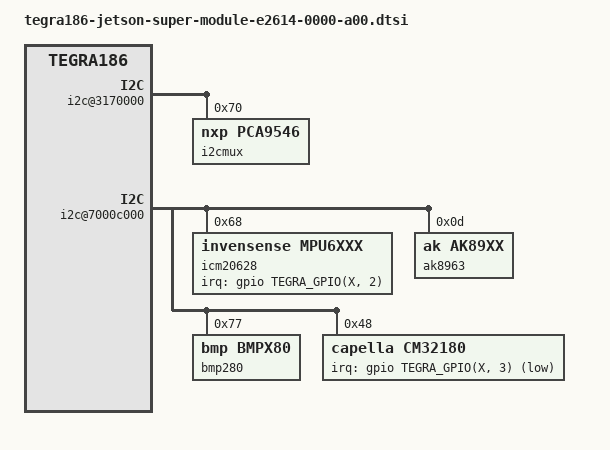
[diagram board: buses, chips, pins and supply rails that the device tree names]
/*
 * tegra186-jetson-super-module-e2614-0000-a00.dtsi: Jetson super module E2614
 *
 * Copyright (c) 2015, NVIDIA CORPORATION.  All rights reserved.
 *
 * This program is free software; you can redistribute it and/or modify
 * it under the terms of the GNU General Public License as published by
 * the Free Software Foundation; version 2 of the License.
 *
 * This program is distributed in the hope that it will be useful, but WITHOUT
 * ANY WARRANTY; without even the implied warranty of MERCHANTABILITY or
 * FITNESS FOR A PARTICULAR PURPOSE.  See the GNU General Public License for
 * more details.
 */

/ {
	i2c@3170000 {
		i2cmux@70 {
			compatible = "nxp,pca9546";
			reg = <0x70>;
			#address-cells = <1>;
			#size-cells = <0>;
			i2c@0 {
				reg = <0>;
				i2c-mux,deselect-on-exit;
				#address-cells = <1>;
				#size-cells = <0>;
			};
			i2c@1 {
				reg = <1>;
				i2c-mux,deselect-on-exit;
				#address-cells = <1>;
				#size-cells = <0>;
			};
			i2c@2 {
				reg = <2>;
				i2c-mux,deselect-on-exit;
				#address-cells = <1>;
				#size-cells = <0>;
			};
			i2c@3 {
				reg = <3>;
				i2c-mux,deselect-on-exit;
				#address-cells = <1>;
				#size-cells = <0>;
			};
		};
	};

        i2c@7000c000 {
                icm20628@68 {
                        compatible = "invensense,mpu6xxx";
                        reg = <0x68>;
                        interrupt-parent = <&gpio>;
                        interrupts = <TEGRA_GPIO(X, 2) 0x01>;
                        accelerometer_matrix = [00 ff 00 01 00 00 00 00 01];
                        gyroscope_matrix = [00 ff 00 01 00 00 00 00 01];
                };

                ak8963@0d {
                        compatible = "ak,ak89xx";
                        reg = <0x0d>;
                        magnetic_field_matrix = [00 ff 00 01 00 00 00 00 01];
                };

                bmp280@77 {
                        compatible = "bmp,bmpX80";
                        reg = <0x77>;
                };

                cm32180@48 {
                        compatible = "capella,cm32180";
                        reg = <0x48>;
                        gpio_irq = <&gpio TEGRA_GPIO(X, 3) GPIO_ACTIVE_LOW>;
                        light_uncalibrated_lo = <1>;
                        light_calibrated_lo = <150>;
                        light_uncalibrated_hi = <95000>;
                        light_calibrated_hi = <1750000>;
                };

                iqs263@44 {
			status = "disabled";
                };
	};
};
